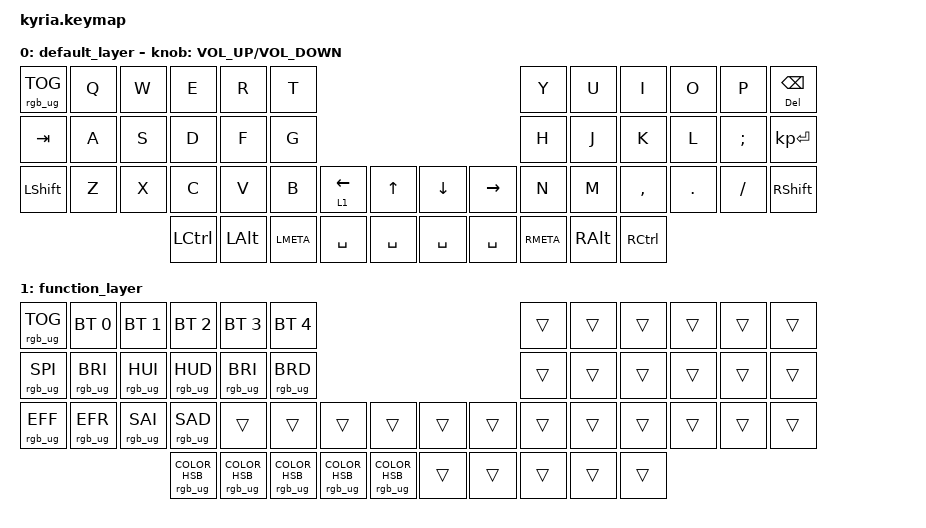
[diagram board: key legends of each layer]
/*
 * Copyright (c) 2020 The ZMK Contributors
 *
 * SPDX-License-Identifier: MIT
 */

#include <behaviors.dtsi>
#include <dt-bindings/zmk/bt.h>
#include <dt-bindings/zmk/keys.h>
#include <dt-bindings/zmk/rgb.h>

/ {
    keymap {
        compatible = "zmk,keymap";

        default_layer {
            bindings = <
&rgb_ug RGB_TOG  &kp Q  &kp W  &kp E             &kp R         &kp T                                                                       &kp Y      &kp U          &kp I              &kp O    &kp P     &mt DELETE BACKSPACE
&kp TAB          &kp A  &kp S  &kp D             &kp F         &kp G                                                                       &kp H      &kp J          &kp K              &kp L    &kp SEMI  &kp KP_ENTER
&kp LSHFT        &kp Z  &kp X  &kp C             &kp V         &kp B      &lt 1 LEFT_ARROW  &kp UP_ARROW  &kp DOWN_ARROW  &kp RIGHT_ARROW  &kp N      &kp M          &kp COMMA          &kp DOT  &kp FSLH  &kp RIGHT_SHIFT
                               &kp LEFT_CONTROL  &kp LEFT_ALT  &kp LMETA  &kp SPACE         &kp SPACE     &kp SPACE       &kp SPACE        &kp RMETA  &kp RIGHT_ALT  &kp RIGHT_CONTROL
            >;

            sensor-bindings = <&inc_dec_kp C_VOLUME_UP C_VOLUME_DOWN>;
        };

        function_layer {
            bindings = <
&rgb_ug RGB_TOG  &bt BT_SEL 0     &bt BT_SEL 1     &bt BT_SEL 2                     &bt BT_SEL 3                      &bt BT_SEL 4                                                                                                          &trans  &trans  &trans  &trans  &trans  &trans
&rgb_ug RGB_SPI  &rgb_ug RGB_BRI  &rgb_ug RGB_HUI  &rgb_ug RGB_HUD                  &rgb_ug RGB_BRI                   &rgb_ug RGB_BRD                                                                                                       &trans  &trans  &trans  &trans  &trans  &trans
&rgb_ug RGB_EFF  &rgb_ug RGB_EFR  &rgb_ug RGB_SAI  &rgb_ug RGB_SAD                  &trans                            &trans                            &trans                            &trans                            &trans  &trans  &trans  &trans  &trans  &trans  &trans  &trans
                                                   &rgb_ug RGB_COLOR_HSB(0,100,50)  &rgb_ug RGB_COLOR_HSB(136,91,49)  &rgb_ug RGB_COLOR_HSB(232,90,50)  &rgb_ug RGB_COLOR_HSB(315,92,49)  &rgb_ug RGB_COLOR_HSB(64,100,50)  &trans  &trans  &trans  &trans  &trans
            >;
        };
    };
};
